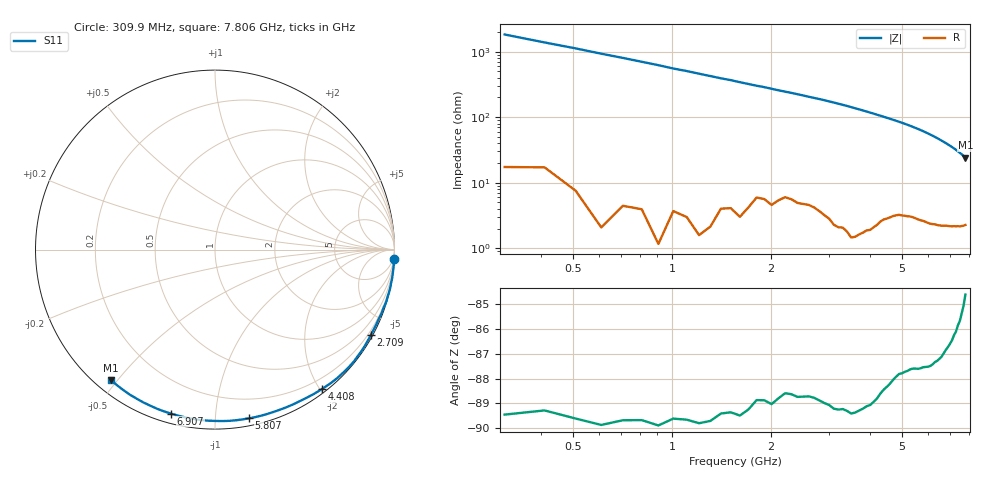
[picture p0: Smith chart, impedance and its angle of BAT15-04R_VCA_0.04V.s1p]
! Infineon Technologies  Discrete & RF Semiconductors
! BAT15-04R
! VCA = 0.04 V
! One-Port S-Parameters
# Hz  S  MA  R  50
!f  S11
!Hz  Mag  Ang
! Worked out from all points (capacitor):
!   76 points, 309.9 MHz to 7.806 GHz, reference 50 ohm
!   read as one part to ground: C = 281 fF near 309.9 MHz
!   lowest |Z| = 24.2 ohm at 7.806 GHz (marker M1)
!   S11 on the Smith chart (normalised r, x): 309.9 MHz: 0, -37; 2.709 GHz: 0.08, -3.93; 4.408 GHz: 0.05, -2.03; 5.807 GHz: 0.05, -1.22; 6.907 GHz: 0.04, -0.77; 7.806 GHz: 0.05, -0.48
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3.0985e8  0.9995 -3.1
9.0955e8  0.9997 -9.2
1.30935e9  0.9988 -13.5
1.6092e9  0.9975 -16.6
2.009e9  0.994 -20.9
2.2089e9  0.9904 -23.0
2.4088e9  0.9907 -25.1
2.70865e9  0.9899 -28.6
2.90855e9  0.991 -30.8
3.2084e9  0.9926 -34.6
3.50825e9  0.9936 -38.7
3.70815e9  0.9919 -41.6
4.10795e9  0.9864 -47.7
4.4078e9  0.9787 -52.5
4.70765e9  0.9717 -57.4
5.0075e9  0.9663 -62.6
5.30735e9  0.9623 -68.2
5.6072e9  0.9606 -74.3
5.8071e9  0.9589 -78.5
6.007e9  0.958 -83.0
6.2069e9  0.9562 -87.6
6.50675e9  0.9526 -94.9
6.70665e9  0.9495 -99.9
6.90655e9  0.9463 -104.9
7.10645e9  0.9436 -110.0
7.30635e9  0.9404 -115.2
7.6062e9  0.9345 -123.1
7.8061e9  0.929 -128.5
